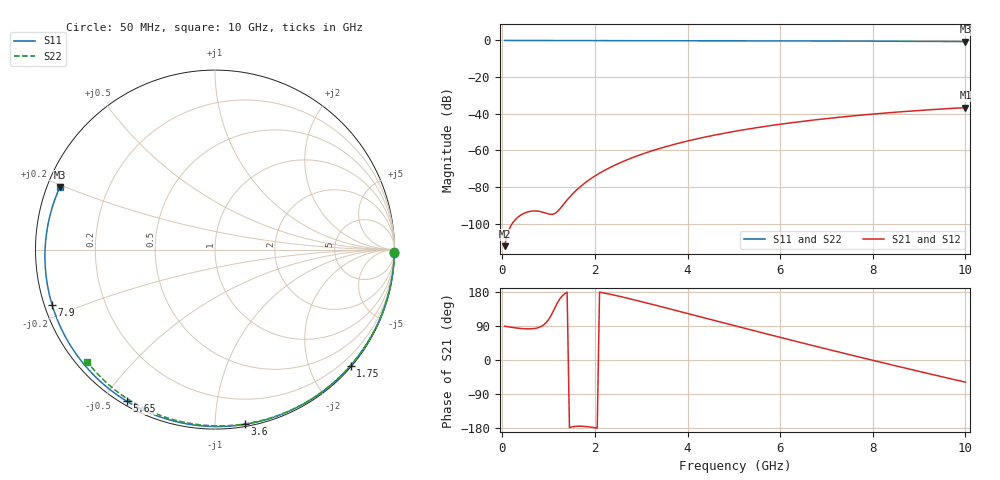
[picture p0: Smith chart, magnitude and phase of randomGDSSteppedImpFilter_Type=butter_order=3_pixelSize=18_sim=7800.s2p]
! freq	dB(S11)	phase(S11)	dB(S12)	phase(S12)
!  dB(S21)	phase(S21)	dB(S22)	phase(S22)
!S-par simulation data
#  GHz  S  DB  R 50
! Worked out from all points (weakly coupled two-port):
!   200 points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, 50 MHz to 10 GHz, reference 50 ohm
!   highest |S21| = -36.63 dB at 10 GHz (marker M1); lowest = -112.2 dB at 50 MHz (marker M2)
!   lowest |S11| = -0.6 dB at 10 GHz (marker M3), VSWR 28.31, Z = 1.83 + j9.69 ohm
!   |S11| at or under -10 dB: nowhere
!   |S22| runs from -0.5 to 0.0 dB; largest |S21 - S12| = 0
!   S11 on the Smith chart (normalised r, x): 50 MHz: 0, -96; 1.75 GHz: 0.02, -2.70; 3.6 GHz: 0.01, -1.18; 5.65 GHz: 0.02, -0.58; 7.9 GHz: 0.02, -0.16; 10 GHz: 0.04, +0.19
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0.05  -0.00 -1.2  -112.22 89.1  -112.22 89.1  -0.00 -0.8
0.4  -0.01 -9.4  -95.24 83.1  -95.24 83.1  -0.01 -6.4
0.8  -0.02 -18.8  -93.22 86.4  -93.22 86.4  -0.02 -12.8
1.2  -0.04 -28.1  -93.08 152.9  -93.08 152.9  -0.02 -19.1
1.65  -0.05 -38.3  -80.53 -174.7  -80.53 -174.7  -0.03 -26.1
1.7  -0.05 -39.5  -79.44 -174.7  -79.44 -174.7  -0.03 -26.9
1.75  -0.05 -40.6  -78.41 -175.0  -78.41 -175.0  -0.04 -27.7
2.05  -0.06 -47.3  -73.16 -179.7  -73.16 -179.7  -0.04 -32.3
2.45  -0.07 -56.1  -67.80 170.3  -67.80 170.3  -0.05 -38.4
2.9  -0.08 -65.7  -63.09 157.1  -63.09 157.1  -0.06 -45.2
3.4  -0.10 -76.2  -58.91 141.7  -58.91 141.7  -0.07 -52.6
3.6  -0.11 -80.3  -57.46 135.4  -57.46 135.4  -0.07 -55.6
4.3  -0.13 -94.4  -53.13 113.2  -53.13 113.2  -0.09 -65.6
5.05  -0.17 -108.8  -49.43 89.5  -49.43 89.5  -0.12 -76.1
5.65  -0.20 -120.1  -46.98 70.6  -46.98 70.6  -0.14 -84.2
6.2  -0.23 -130.3  -45.04 53.6  -45.04 53.6  -0.16 -91.5
6.7  -0.27 -139.4  -43.48 38.2  -43.48 38.2  -0.19 -98.0
7.3  -0.31 -150.3  -41.84 20.0  -41.84 20.0  -0.23 -105.6
7.9  -0.37 -161.3  -40.40 2.1  -40.40 2.1  -0.27 -113.1
8.35  -0.41 -169.6  -39.43 -11.2  -39.43 -11.2  -0.30 -118.7
9.2  -0.51 174.1  -37.86 -35.8  -37.86 -35.8  -0.38 -129.0
10  -0.61 158.0  -36.63 -58.5  -36.63 -58.5  -0.47 -138.7
